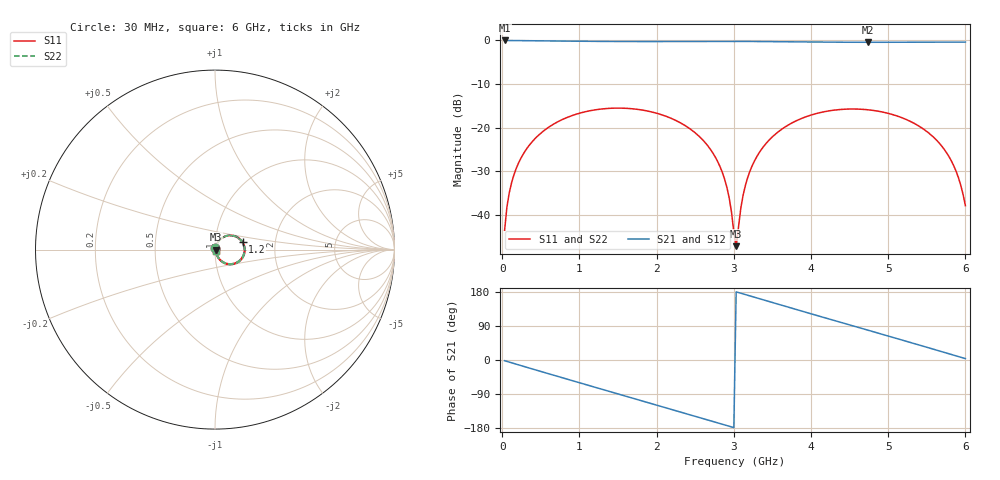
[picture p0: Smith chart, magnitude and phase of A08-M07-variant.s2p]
! yapnr Order 0 O0-M: O0-M A08 M0.7 30 (variant, family M0.7)
! stackup OSHPARK-4L-EM528, nominal parameters; geometry of the OSHPARK-4L-FR408HR design
! model: 2D quasi-static RLGC (Djordjevic-Sarkar, Huray roughness, Wheeler loss); generated by python -m yapnr.rf.coupons expected --stackup OSHPARK-4L-FR408HR --upload M
! reference planes 10 mm from each end; 50 ohm (from the M line's Zc)
# GHz S DB R 50
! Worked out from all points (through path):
!   200 points, 30 MHz to 6 GHz, reference 50 ohm
!   highest |S21| = -0.01 dB at 30 MHz (marker M1); lowest = -0.4 dB at 4.74 GHz (marker M2)
!   group delay of S21, straight-line fit = 165 ps
!   lowest |S11| = -47.2 dB at 3.03 GHz (marker M3), VSWR 1.01, Z = 50.4 + j0.0486 ohm
!   |S11| at or under -10 dB: start of sweep to end of sweep
!   |S22| runs from -47.2 to -15.5 dB; largest |S21 - S12| = 0
!   S11 on the Smith chart (normalised r, x): 30 MHz: 1.00, +0.01; 1.2 GHz: 1.36, +0.12; 6 GHz: 1.02, -0.02
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0.03  -43.57 74.9  -0.01 -1.9  -0.01 -1.9  -43.57 74.9
0.06  -38.22 76.4  -0.02 -3.7  -0.02 -3.7  -38.22 76.4
0.12  -32.69 75.3  -0.03 -7.4  -0.03 -7.4  -32.69 75.3
0.3  -25.28 66.9  -0.06 -18.3  -0.06 -18.3  -25.28 66.9
0.6  -19.93 50.3  -0.12 -36.3  -0.12 -36.3  -19.93 50.3
1.05  -16.48 24.5  -0.20 -63.0  -0.20 -63.0  -16.48 24.5
1.2  -15.95 15.9  -0.23 -71.8  -0.23 -71.8  -15.95 15.9
1.62  -15.60 -8.1  -0.26 -96.4  -0.26 -96.4  -15.60 -8.1
2.04  -16.93 -32.0  -0.25 -121.1  -0.25 -121.1  -16.93 -32.0
2.46  -20.66 -55.6  -0.23 -146.0  -0.23 -146.0  -20.66 -55.6
2.76  -26.79 -70.5  -0.22 -164.0  -0.22 -164.0  -26.79 -70.5
2.91  -33.74 -72.7  -0.22 -173.0  -0.22 -173.0  -33.74 -72.7
3.03  -47.22 6.3  -0.23 179.8  -0.23 179.8  -47.22 6.3
3.12  -35.53 67.8  -0.23 174.4  -0.23 174.4  -35.53 67.8
3.3  -26.60 66.8  -0.25 163.6  -0.25 163.6  -26.60 66.8
3.6  -20.65 51.9  -0.30 145.6  -0.30 145.6  -20.65 51.9
4.02  -17.03 28.4  -0.37 120.8  -0.37 120.8  -17.03 28.4
4.74  -15.93 -12.1  -0.44 78.5  -0.44 78.5  -15.93 -12.1
5.01  -16.79 -27.2  -0.43 62.7  -0.43 62.7  -16.79 -27.2
5.67  -23.75 -61.9  -0.39 23.5  -0.39 23.5  -23.75 -61.9
5.88  -30.06 -67.1  -0.39 10.9  -0.39 10.9  -30.06 -67.1
6  -37.93 -52.3  -0.39 3.7  -0.39 3.7  -37.93 -52.3
